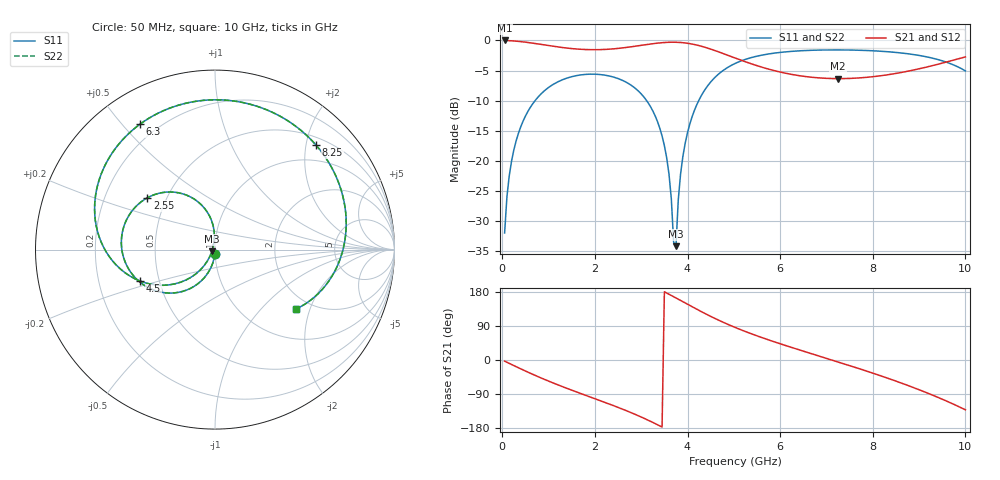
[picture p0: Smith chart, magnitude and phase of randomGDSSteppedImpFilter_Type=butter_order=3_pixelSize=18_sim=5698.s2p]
! freq	dB(S11)	phase(S11)	dB(S12)	phase(S12)
!  dB(S21)	phase(S21)	dB(S22)	phase(S22)
!S-par simulation data
#  GHz  S  DB  R 50
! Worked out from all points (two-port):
!   200 points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, 50 MHz to 10 GHz, reference 50 ohm
!   highest |S21| = -0.01 dB at 50 MHz (marker M1); lowest = -6.3 dB at 7.25 GHz (marker M2)
!   |S21| within 3 dB of the highest: start of sweep to 5.058 GHz; 9.869 GHz to end of sweep
!   lowest |S11| = -34.1 dB at 3.75 GHz (marker M3), VSWR 1.04, Z = 48.3 - j0.947 ohm
!   |S11| at or under -10 dB: start of sweep to 706.9 MHz; 3.118 GHz to 4.241 GHz (1.123 GHz wide, 30.5 % of centre)
!   |S22| runs from -34.2 to -1.6 dB; largest |S21 - S12| = 0
!   S11 on the Smith chart (normalised r, x): 50 MHz: 1.00, -0.05; 2.55 GHz: 0.39, +0.29; 4.5 GHz: 0.39, -0.17; 6.3 GHz: 0.13, +0.56; 8.25 GHz: 0.65, +2.20; 10 GHz: 1.67, -1.61
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0.05  -31.94 -93.1  -0.01 -3.0  -0.01 -3.0  -31.94 -93.1
0.1  -25.94 -96.3  -0.02 -6.0  -0.02 -6.0  -25.94 -96.3
0.2  -20.02 -102.4  -0.06 -11.9  -0.06 -11.9  -20.02 -102.4
0.5  -12.54 -119.7  -0.29 -29.1  -0.29 -29.1  -12.54 -119.7
1.05  -7.53 -148.7  -0.92 -58.2  -0.92 -58.2  -7.53 -148.7
1.75  -5.67 178.6  -1.50 -90.9  -1.50 -90.9  -5.67 178.6
2.55  -6.47 142.5  -1.29 -127.5  -1.29 -127.5  -6.47 142.5
3.4  -14.53 99.0  -0.41 -173.8  -0.41 -173.8  -14.53 99.0
3.6  -22.21 92.4  -0.31 173.6  -0.31 173.6  -22.21 92.3
3.7  -33.46 115.8  -0.30 167.0  -0.30 167.0  -33.50 115.4
3.75  -34.13 -150.1  -0.30 163.7  -0.30 163.7  -34.18 -149.7
3.85  -22.13 -123.8  -0.34 157.1  -0.34 157.1  -22.14 -123.7
3.95  -17.03 -126.0  -0.42 150.4  -0.42 150.4  -17.03 -125.9
4.5  -6.90 -157.1  -1.44 115.1  -1.44 115.1  -6.90 -157.1
5.05  -3.74 173.5  -2.98 84.8  -2.98 84.8  -3.74 173.6
6.3  -1.78 120.8  -5.71 31.1  -5.71 31.1  -1.78 120.9
6.7  -1.63 105.7  -6.12 15.8  -6.12 15.8  -1.63 105.8
7.25  -1.57 85.1  -6.34 -5.1  -6.34 -5.1  -1.57 85.1
8.25  -1.83 45.9  -5.78 -45.0  -5.78 -45.0  -1.83 45.9
8.35  -1.89 41.7  -5.67 -49.2  -5.67 -49.2  -1.89 41.7
9.2  -2.78 4.1  -4.35 -88.1  -4.35 -88.1  -2.78 4.1
10  -5.05 -36.3  -2.73 -131.4  -2.73 -131.4  -5.05 -36.5
